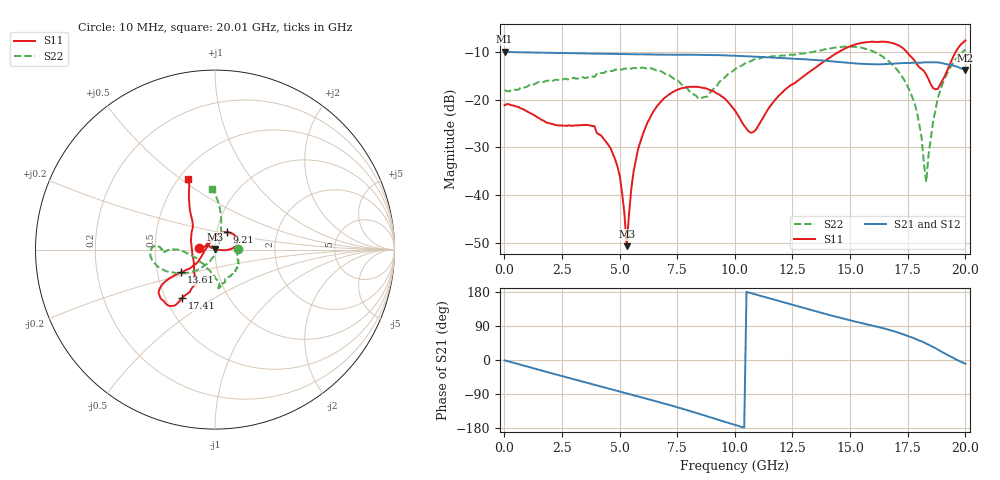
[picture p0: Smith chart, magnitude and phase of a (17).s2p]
! Hittite Microwave Corporation
! 2 Elizabeth Drive
! Chelmsford, MA 01824
! http://www.hittite.com
! Tel: 978-250-3343
! Fax: 978-250-3373
! Device:  HMC424LP3
! Description: 0.5 dB GaAs MMIC 6-Bit Digital Attenuator
! Frequency:  DC -  13.00 GHz
! Package:  LP3  - 3x3 mm Quad Flatpack No-Lead (QFN) Plastic Package: 16 pin
! Ports:  2 RF, 7 DC
!  Pad  1  = Ground
!  Pad  2  = RF IN  = Port 1
!  Pad  3  = Ground
!  Pad  4  = V6
!  Pad  5  = V5
!  Pad  6  = V4
!  Pad  7  = V3
!  Pad  8  = V2
!  Pad  9  = V1
!  Pad 10  = Ground
!  Pad 11  = RF OUT  = Port 2
!  Pad 12  = Ground
!  Pad 15  = VEE
! Control:  -5 Volt control voltage
! State:  15
! Attenuation:  7.5 dB
! Voltages:  Vdd = -5.00 Volts  Idd =  -2.685 mA
!  V1  = -5.00 Volts  I1  =  -1.0 uA
!  V2  = -5.00 Volts  I2  =  -1.0 uA
!  V3  = -5.00 Volts  I3  =  -1.0 uA
!  V4  = -5.00 Volts  I4  =  -1.0 uA
!  V5  = 0.00 Volts  I5  =  29.0 uA
!  V6  = 0.00 Volts  I6  =  30.0 uA
! Data:  The device was measured on evaluation board 105354-1.
!  Data was collected using a calibrated network analyzer.
!  The evaluation circuit board was modeled and simulated.  This was use
!  to removed the evaluation board circuit from the measured data.
!  The reference plane is the edge of the package pin.
! Misc:  Lot xxxx, Unit 1
!  Application 20120001, Data collected in Application 20090083
! Date Measured:  2009-09-15
! Date:  2012-05-14  MJV
! Note:
!  Hittite supplies this data as a sample of measured data at the package pin
!  for this product.  Your particular data for this product may vary.
!  Data was taken at 25 degrees C.
!  Hittite reserves the right to change this data at anytime.
# GHz S MA R 50
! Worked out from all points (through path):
!   201 points, 10 MHz to 20.01 GHz, reference 50 ohm
!   highest |S21| = -9.89 dB at 10 MHz (marker M1); lowest = -13.8 dB at 20.01 GHz (marker M2)
!   group delay of S21, straight-line fit = 48.6 ps
!   lowest |S11| = -50.7 dB at 5.31 GHz (marker M3), VSWR 1.01, Z = 50 + j0.29 ohm
!   |S11| at or under -10 dB: start of sweep to 14.49 GHz; 17.47 GHz to 19.59 GHz (2.113 GHz wide, 11.4 % of centre)
!   |S22| runs from -37.3 to -8.8 dB; largest |S21 - S12| = 0.0029
!   S11 on the Smith chart (normalised r, x): 10 MHz: 0.84, +0.02; 9.21 GHz: 1.12, +0.22; 13.61 GHz: 0.66, -0.18; 17.41 GHz: 0.60, -0.37; 20.01 GHz: 0.56, +0.53
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0.01  0.08771 173.9  0.3203 -1.1  0.3189 -1.6  0.1269 1.6
3.41  0.05435 141.1  0.308 -57.5  0.3078 -57.5  0.1727 -59.9
3.91  0.05284 144.7  0.3062 -65.6  0.3061 -65.6  0.1737 -70.9
4.81  0.02368 152.8  0.3037 -80.2  0.3033 -80.2  0.2077 -81.6
5.11  0.01047 146.5  0.3026 -85.0  0.3021 -85.0  0.2074 -83.2
5.31  0.002908 84.8  0.3015 -88.3  0.3013 -88.3  0.2121 -82.8
5.51  0.01168 -0.3  0.3012 -91.4  0.3008 -91.5  0.2125 -84.8
5.81  0.03082 -5.1  0.3004 -96.3  0.2998 -96.3  0.2123 -84.9
6.71  0.0905 2.8  0.2983 -111.1  0.2977 -111.1  0.2033 -83.7
8.41  0.1364 34.3  0.2965 -141.1  0.296 -141.1  0.1038 -121.8
9.21  0.1171 55.8  0.2947 -156.4  0.2942 -156.4  0.1383 -168.6
10.01  0.07693 83.7  0.2901 -171.3  0.2895 -171.3  0.2092 180.0
10.81  0.046 156.4  0.2842 174.6  0.2838 174.6  0.2636 -179.5
13.41  0.2095 -145.3  0.2628 130.4  0.2623 130.4  0.318 176.3
13.61  0.227 -146.2  0.2606 127.0  0.2601 127.0  0.3269 176.4
16.71  0.4013 -128.4  0.2381 79.5  0.2379 79.5  0.2507 -148.3
17.41  0.3287 -124.2  0.2434 65.6  0.2431 65.7  0.1542 -131.6
17.91  0.2354 -120.4  0.245 53.8  0.2446 53.8  0.07355 -113.1
18.31  0.1842 -127.7  0.2478 43.4  0.2474 43.4  0.01369 -24.9
18.41  0.1644 -135.2  0.2479 40.2  0.2476 40.2  0.02645 43.7
18.81  0.1302 175.3  0.2468 27.6  0.2464 27.6  0.1039 69.6
20.01  0.4198 111.3  0.2053 -9.8  0.2054 -9.6  0.3362 92.5
